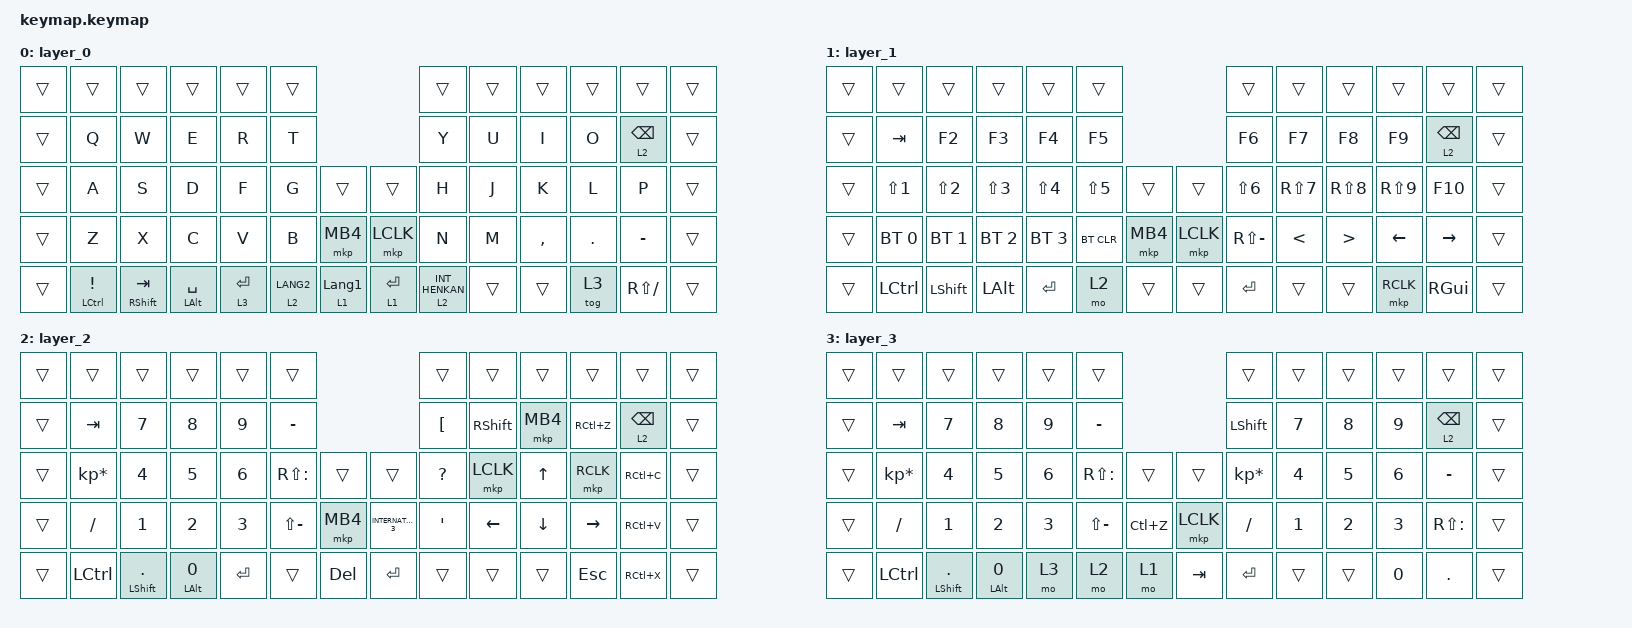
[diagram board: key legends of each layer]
#define ZMK_POINTING_DEFAULT_MOVE_VAL 600  // default: 600
#define ZMK_POINTING_DEFAULT_SCRL_VAL 10    // default: 10

#include <behaviors.dtsi>
#include <dt-bindings/zmk/bt.h>
#include <dt-bindings/zmk/keys.h>
#include <dt-bindings/zmk/pointing.h>

/ {
    combos {
        compatible = "zmk,combos";

        bt_clear {
            bindings = <&bt BT_CLR>;
            key-positions = <28 29>;
            layers = <3>;
        };
    };

    keymap {
        compatible = "zmk,keymap";

        layer_0 {
            bindings = <
&trans  &trans                        &trans               &trans              &trans       &trans                                      &trans            &trans  &trans     &trans   &trans           &trans
&trans  &kp Q                         &kp W                &kp E               &kp R        &kp T                                       &kp Y             &kp U   &kp I      &kp O    &lt 2 BACKSPACE  &trans
&trans  &kp A                         &kp S                &kp D               &kp F        &kp G        &trans            &trans       &kp H             &kp J   &kp K      &kp L    &kp P            &trans
&trans  &kp Z                         &kp X                &kp C               &kp V        &kp B        &mkp MB4          &mkp LCLK    &kp N             &kp M   &kp COMMA  &kp DOT  &kp MINUS        &trans
&trans  &mt LEFT_CONTROL EXCLAMATION  &mt RIGHT_SHIFT TAB  &mt LEFT_ALT SPACE  &lt 3 ENTER  &lt 2 LANG2  &lt 1 LANGUAGE_1  &lt 1 ENTER  &lt 2 INT_HENKAN  &trans  &trans     &tog 3   &kp RS(SLASH)    &trans
            >;
        };

        layer_1 {
            bindings = <
&trans  &trans            &trans            &trans            &trans            &trans                           &trans         &trans         &trans            &trans          &trans           &trans
&trans  &kp TAB           &kp F2            &kp F3            &kp F4            &kp F5                           &kp F6         &kp F7         &kp F8            &kp F9          &lt 2 BACKSPACE  &trans
&trans  &kp LS(NUMBER_1)  &kp LS(NUMBER_2)  &kp LS(NUMBER_3)  &kp LS(NUMBER_4)  &kp LS(N5)  &trans    &trans     &kp LS(N6)     &kp RS(N7)     &kp RS(NUMBER_8)  &kp RS(N9)      &kp F10          &trans
&trans  &bt BT_SEL 0      &bt BT_SEL 1      &bt BT_SEL 2      &bt BT_SEL 3      &bt BT_CLR  &mkp MB4  &mkp LCLK  &kp RS(MINUS)  &kp LESS_THAN  &kp GREATER_THAN  &kp LEFT_ARROW  &kp RIGHT        &trans
&trans  &kp LEFT_CONTROL  &kp LSHIFT        &kp LEFT_ALT      &kp ENTER         &mo 2       &trans    &trans     &kp ENTER      &trans         &trans            &mkp RCLK       &kp RGUI         &trans
            >;
        };

        layer_2 {
            bindings = <
&trans  &trans           &trans              &trans                 &trans     &trans                                        &trans            &trans           &trans          &trans     &trans           &trans
&trans  &kp TAB          &kp N7              &kp N8                 &kp N9     &kp MINUS                                     &kp LEFT_BRACKET  &kp RIGHT_SHIFT  &mkp MB4        &kp RC(Z)  &lt 2 BACKSPACE  &trans
&trans  &kp KP_MULTIPLY  &kp N4              &kp N5                 &kp N6     &kp RS(COLON)  &trans    &trans               &kp QMARK         &mkp LCLK        &kp UP          &mkp RCLK  &kp RC(C)        &trans
&trans  &kp SLASH        &kp N1              &kp N2                 &kp N3     &kp LS(MINUS)  &mkp MB4  &kp INTERNATIONAL_3  &kp SINGLE_QUOTE  &kp LEFT         &kp DOWN_ARROW  &kp RIGHT  &kp RC(V)        &trans
&trans  &kp LCTRL        &mt LEFT_SHIFT DOT  &mt LEFT_ALT NUMBER_0  &kp ENTER  &trans         &kp DEL   &kp ENTER            &trans            &trans           &trans          &kp ESC    &kp RC(X)        &trans
            >;
        };

        layer_3 {
            bindings = <
&trans  &trans           &trans              &trans                 &trans  &trans                               &trans           &trans        &trans  &trans        &trans           &trans
&trans  &kp TAB          &kp N7              &kp N8                 &kp N9  &kp MINUS                            &kp LEFT_SHIFT   &kp N7        &kp N8  &kp N9        &lt 2 BACKSPACE  &trans
&trans  &kp KP_MULTIPLY  &kp N4              &kp N5                 &kp N6  &kp RS(COLON)  &trans     &trans     &kp KP_MULTIPLY  &kp NUMBER_4  &kp N5  &kp N6        &kp MINUS        &trans
&trans  &kp SLASH        &kp N1              &kp N2                 &kp N3  &kp LS(MINUS)  &kp LC(Z)  &mkp LCLK  &kp SLASH        &kp N1        &kp N2  &kp N3        &kp RS(COLON)    &trans
&trans  &kp LCTRL        &mt LEFT_SHIFT DOT  &mt LEFT_ALT NUMBER_0  &mo 3   &mo 2          &mo 1      &kp TAB    &kp ENTER        &trans        &trans  &kp NUMBER_0  &kp DOT          &trans
            >;
        };
    };
};
